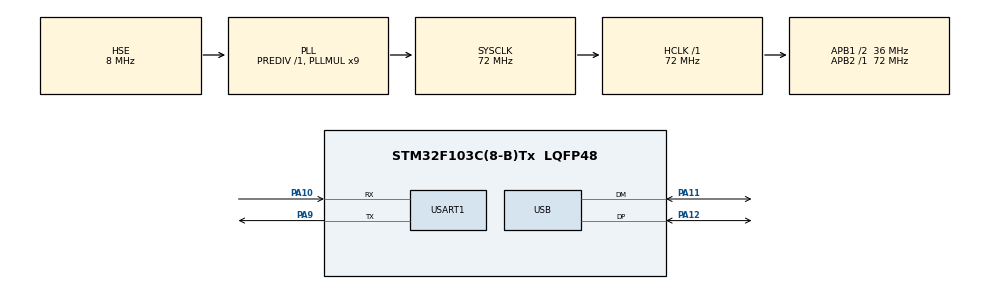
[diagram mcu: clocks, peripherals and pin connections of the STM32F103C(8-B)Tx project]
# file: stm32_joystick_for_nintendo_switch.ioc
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Mcu.Family=STM32F1
Mcu.Name=STM32F103C(8-B)Tx
Mcu.Package=LQFP48
NVIC.PriorityGroup=NVIC_PRIORITYGROUP_4
NVIC.USART1_IRQn=true\:3\:0\:true\:false\:true\:true\:true
NVIC.USB_LP_CAN1_RX0_IRQn=true\:5\:0\:true\:false\:true\:false\:true
PA10.Mode=Asynchronous
PA10.Signal=USART1_RX
PA11.Mode=Device
PA11.Signal=USB_DM
PA12.Mode=Device
PA12.Signal=USB_DP
PA9.Mode=Asynchronous
PA9.Signal=USART1_TX
PD0-OSC_IN.Mode=HSE-External-Oscillator
PD0-OSC_IN.Signal=RCC_OSC_IN
PD1-OSC_OUT.Mode=HSE-External-Oscillator
PD1-OSC_OUT.Signal=RCC_OSC_OUT
ProjectManager.HeapSize=0x800
ProjectManager.StackSize=0x400
ProjectManager.TargetToolchain=MDK-ARM V5
RCC.AHBFreq_Value=72000000
RCC.APB1CLKDivider=RCC_HCLK_DIV2
RCC.APB1Freq_Value=36000000
RCC.APB1TimFreq_Value=72000000
RCC.APB2Freq_Value=72000000
RCC.APB2TimFreq_Value=72000000
RCC.HCLKFreq_Value=72000000
RCC.PLLMUL=RCC_PLL_MUL9
RCC.SYSCLKFreq_VALUE=72000000
RCC.SYSCLKSource=RCC_SYSCLKSOURCE_PLLCLK
RCC.USBFreq_Value=48000000
RCC.USBPrescaler=RCC_USBCLKSOURCE_PLL_DIV1_5
USART1.VirtualMode=VM_ASYNC
USB_DEVICE.CLASS_NAME_FS=HID
USB_DEVICE.VirtualMode=Hid
USB_DEVICE.VirtualModeFS=Hid_FS
VP_SYS_VS_ND.Mode=No_Debug
VP_USB_DEVICE_VS_USB_DEVICE_HID_FS.Mode=HID_FS
board=custom

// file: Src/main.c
/* USER CODE BEGIN Header */
/**
  ******************************************************************************
  * @file           : main.c
  * @brief          : Main program body
  * @author         : Yehui
  *                   github.com/soonuse/stm32_joystick_for_nintendo_switch
  ******************************************************************************
  * @attention
  *
  * <h2><center>&copy; Copyright (c) 2020 STMicroelectronics.
  * All rights reserved.</center></h2>
  *
  * This software component is licensed by ST under Ultimate Liberty license
  * SLA0044, the "License"; You may not use this file except in compliance with
  * the License. You may obtain a copy of the License at:
  *                             www.st.com/SLA0044
  *
  ******************************************************************************
  */
/* USER CODE END Header */

#include "main.h"
#include "usb_device.h"

/* USER CODE BEGIN Includes */
#include "ns_joystick.h"
/* USER CODE END Includes */

/* USER CODE BEGIN PD */
// mask
#define COMMAND_SYNC_START          (0x80)
// response
#define RESP_SYNC_START             (0xFF)
/* USER CODE END PD */

UART_HandleTypeDef huart1;

/* USER CODE BEGIN PV */
extern USB_JoystickReport_Input joystick_input;
uint8_t rx_buf = 0x00;
uint8_t serial_buf[8];
uint8_t serial_idx = 0;
/* USER CODE END PV */

void SystemClock_Config(void);
static void MX_GPIO_Init(void);
static void MX_USART1_UART_Init(void);

int main(void)
{

  /* MCU Configuration--------------------------------------------------------*/

  /* Reset of all peripherals, Initializes the Flash interface and the Systick. */
  HAL_Init();

  /* Configure the system clock */
  SystemClock_Config();

  /* Initialize all configured peripherals */
  MX_GPIO_Init();
  MX_USB_DEVICE_Init();
  MX_USART1_UART_Init();
  /* USER CODE BEGIN 2 */
  HAL_UART_Receive_IT(&huart1, &rx_buf, 1);
  ResetReport(&joystick_input);
  /* USER CODE END 2 */

  /* Infinite loop */
  while (1)
  {

    /* USER CODE BEGIN 3 */
    SendReport(&hUsbDeviceFS, &joystick_input);
  }
  /* USER CODE END 3 */
}

void SystemClock_Config(void)
{
  RCC_OscInitTypeDef RCC_OscInitStruct = {0};
  RCC_ClkInitTypeDef RCC_ClkInitStruct = {0};
  RCC_PeriphCLKInitTypeDef PeriphClkInit = {0};

  /** Initializes the CPU, AHB and APB busses clocks
  */
  RCC_OscInitStruct.OscillatorType = RCC_OSCILLATORTYPE_HSE;
  RCC_OscInitStruct.HSEState = RCC_HSE_ON;
  RCC_OscInitStruct.HSEPredivValue = RCC_HSE_PREDIV_DIV1;
  RCC_OscInitStruct.HSIState = RCC_HSI_ON;
  RCC_OscInitStruct.PLL.PLLState = RCC_PLL_ON;
  RCC_OscInitStruct.PLL.PLLSource = RCC_PLLSOURCE_HSE;
  RCC_OscInitStruct.PLL.PLLMUL = RCC_PLL_MUL9;
  if (HAL_RCC_OscConfig(&RCC_OscInitStruct) != HAL_OK)
  {
    Error_Handler();
  }
  /** Initializes the CPU, AHB and APB busses clocks
  */
  RCC_ClkInitStruct.ClockType = RCC_CLOCKTYPE_HCLK|RCC_CLOCKTYPE_SYSCLK
                              |RCC_CLOCKTYPE_PCLK1|RCC_CLOCKTYPE_PCLK2;
  RCC_ClkInitStruct.SYSCLKSource = RCC_SYSCLKSOURCE_PLLCLK;
  RCC_ClkInitStruct.AHBCLKDivider = RCC_SYSCLK_DIV1;
  RCC_ClkInitStruct.APB1CLKDivider = RCC_HCLK_DIV2;
  RCC_ClkInitStruct.APB2CLKDivider = RCC_HCLK_DIV1;

  if (HAL_RCC_ClockConfig(&RCC_ClkInitStruct, FLASH_LATENCY_2) != HAL_OK)
  {
    Error_Handler();
  }
  PeriphClkInit.PeriphClockSelection = RCC_PERIPHCLK_USB;
  PeriphClkInit.UsbClockSelection = RCC_USBCLKSOURCE_PLL_DIV1_5;
  if (HAL_RCCEx_PeriphCLKConfig(&PeriphClkInit) != HAL_OK)
  {
    Error_Handler();
  }
}

static void MX_USART1_UART_Init(void)
{

  huart1.Instance = USART1;
  huart1.Init.BaudRate = 115200;
  huart1.Init.WordLength = UART_WORDLENGTH_8B;
  huart1.Init.StopBits = UART_STOPBITS_1;
  huart1.Init.Parity = UART_PARITY_NONE;
  huart1.Init.Mode = UART_MODE_TX_RX;
  huart1.Init.HwFlowCtl = UART_HWCONTROL_NONE;
  huart1.Init.OverSampling = UART_OVERSAMPLING_16;
  if (HAL_UART_Init(&huart1) != HAL_OK)
  {
    Error_Handler();
  }

}

static void MX_GPIO_Init(void)
{

  /* GPIO Ports Clock Enable */
  __HAL_RCC_GPIOD_CLK_ENABLE();
  __HAL_RCC_GPIOA_CLK_ENABLE();

}

/* USER CODE BEGIN 4 */
#ifdef __GNUC__
  /* With GCC/RAISONANCE, small printf (option LD Linker->Libraries->Small printf
     set to 'Yes') calls __io_putchar() */
  #define PUTCHAR_PROTOTYPE int __io_putchar(int ch)
#else
  #define PUTCHAR_PROTOTYPE int fputc(int ch, FILE *f)
#endif /* __GNUC__ */
/**
  * @brief  Retargets the C library printf function to the USART.
  * @param  None
  * @retval None
  */
PUTCHAR_PROTOTYPE
{
  /* Place your implementation of fputc here */
  /* e.g. write a character to the EVAL_COM1 and Loop until the end of transmission */
  HAL_UART_Transmit(&huart1, (uint8_t *)&ch, 1, 0xFFFF);

  return ch;
}

void HAL_UART_RxCpltCallback(UART_HandleTypeDef *huart)
{
  if (huart->Instance == USART1)
  {
    if (rx_buf & COMMAND_SYNC_START)
    {
      uint8_t resp = RESP_SYNC_START;
      HAL_UART_Transmit(huart, &resp, 1, 0xFFFF);
      serial_idx = 0;
      serial_buf[serial_idx] = rx_buf;
      serial_idx++;
    }
    else if (0 < serial_idx < sizeof(serial_buf))
    {
      serial_buf[serial_idx] = rx_buf;
      serial_idx++;
    }
    if (serial_idx >= sizeof(serial_buf))
    {
      serial_idx = 0;
      uint8_t* ptr = (uint8_t*)&joystick_input;
      for (uint8_t i = 0; i < sizeof(serial_buf) - 1; i++)
      {
        *(ptr + i) = (serial_buf[i] << (i + 1)) | (serial_buf[i + 1] >> (6 - i));
      }
      // ignore the vendor specific info
      // *(ptr + 7) = 0x00;
    }
    HAL_UART_Receive_IT(&huart1, &rx_buf, 1);
  }
}

/* USER CODE END 4 */

void Error_Handler(void)
{
}

/************************ (C) COPYRIGHT STMicroelectronics *****END OF FILE****/
